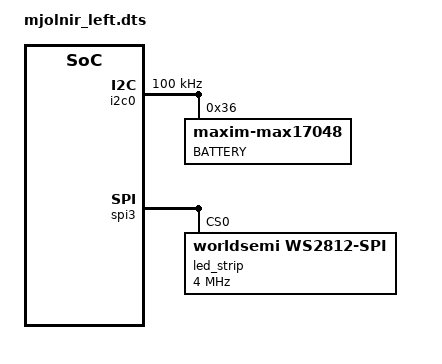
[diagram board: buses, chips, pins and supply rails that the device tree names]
#include "mjolnir.dtsi"
#include "mjolnir_left-pinctrl.dtsi"
#include <dt-bindings/led/led.h>

&kscan0 {
    input-gpios
    = <&gpio1  4 (GPIO_ACTIVE_LOW | GPIO_PULL_UP)> // 0_0
    , <&gpio0  9 (GPIO_ACTIVE_LOW | GPIO_PULL_UP)> // 1_0
    , <&gpio0 10 (GPIO_ACTIVE_LOW | GPIO_PULL_UP)> // 2_0
    , <&gpio1  2 (GPIO_ACTIVE_LOW | GPIO_PULL_UP)> // 3_0
    , <&gpio1  0 (GPIO_ACTIVE_LOW | GPIO_PULL_UP)> // 4_0
    , <&gpio0 24 (GPIO_ACTIVE_LOW | GPIO_PULL_UP)> // 0_1
    , <&gpio0 22 (GPIO_ACTIVE_LOW | GPIO_PULL_UP)> // 1_1
    , <&gpio0 20 (GPIO_ACTIVE_LOW | GPIO_PULL_UP)> // 2_1
    , <&gpio0 17 (GPIO_ACTIVE_LOW | GPIO_PULL_UP)> // 3_1
    , <&gpio0 15 (GPIO_ACTIVE_LOW | GPIO_PULL_UP)> // 4_1
    , <&gpio0 13 (GPIO_ACTIVE_LOW | GPIO_PULL_UP)> // 0_2
    , <&gpio1  9 (GPIO_ACTIVE_LOW | GPIO_PULL_UP)> // 1_2
    , <&gpio0  5 (GPIO_ACTIVE_LOW | GPIO_PULL_UP)> // 2_2
    , <&gpio0 30 (GPIO_ACTIVE_LOW | GPIO_PULL_UP)> // 3_2
    , <&gpio0 31 (GPIO_ACTIVE_LOW | GPIO_PULL_UP)> // 4_2
    , <&gpio0 28 (GPIO_ACTIVE_LOW | GPIO_PULL_UP)> // 1_3
    , <&gpio0  3 (GPIO_ACTIVE_LOW | GPIO_PULL_UP)> // 2_3
    , <&gpio1 10 (GPIO_ACTIVE_LOW | GPIO_PULL_UP)> // 3_3
    , <&gpio1 11 (GPIO_ACTIVE_LOW | GPIO_PULL_UP)> // 4_3
    ;
};

&i2c0 {
	status = "okay";
	compatible = "nordic,nrf-twim";
	pinctrl-0 = <&i2c0_default>;
    pinctrl-1 = <&i2c0_sleep>;
    pinctrl-names = "default", "sleep";
	clock-frequency = <100000>;

	fuelgauge: max17048@36 {
		compatible = "zmk,maxim-max17048";
		label = "BATTERY";
		reg = <0x36>;
	};
};

nice_view_spi: &spi1 {
    compatible = "nordic,nrf-spim";
    pinctrl-0 = <&spi1_default>;
    pinctrl-1 = <&spi1_sleep>;
    pinctrl-names = "default", "sleep";
    cs-gpios = <&gpio0 4 GPIO_ACTIVE_HIGH>;
};

&rgbpower {
    control-gpios = <&gpio0 2 GPIO_ACTIVE_HIGH>; /* WS2812_CE */
};

&statusled {
    blue_led: led_0 {
        gpios = <&gpio0 26 GPIO_ACTIVE_HIGH>;
    };
};

&spi3 {
  compatible = "nordic,nrf-spim";
  status = "okay";

  pinctrl-0 = <&spi3_default>;
  pinctrl-1 = <&spi3_sleep>;
  pinctrl-names = "default", "sleep";

  led_strip: ws2812@0 {
    compatible = "worldsemi,ws2812-spi";

    /* SPI */
    reg = <0>; /* ignored, but necessary for SPI bindings */
    spi-max-frequency = <4000000>;

    /* WS2812 */
    chain-length = <19>; /* number of LEDs */
    spi-one-frame = <0x70>;
    spi-zero-frame = <0x40>;
    color-mapping = <LED_COLOR_ID_GREEN
                          LED_COLOR_ID_RED
                          LED_COLOR_ID_BLUE>;
  };
};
